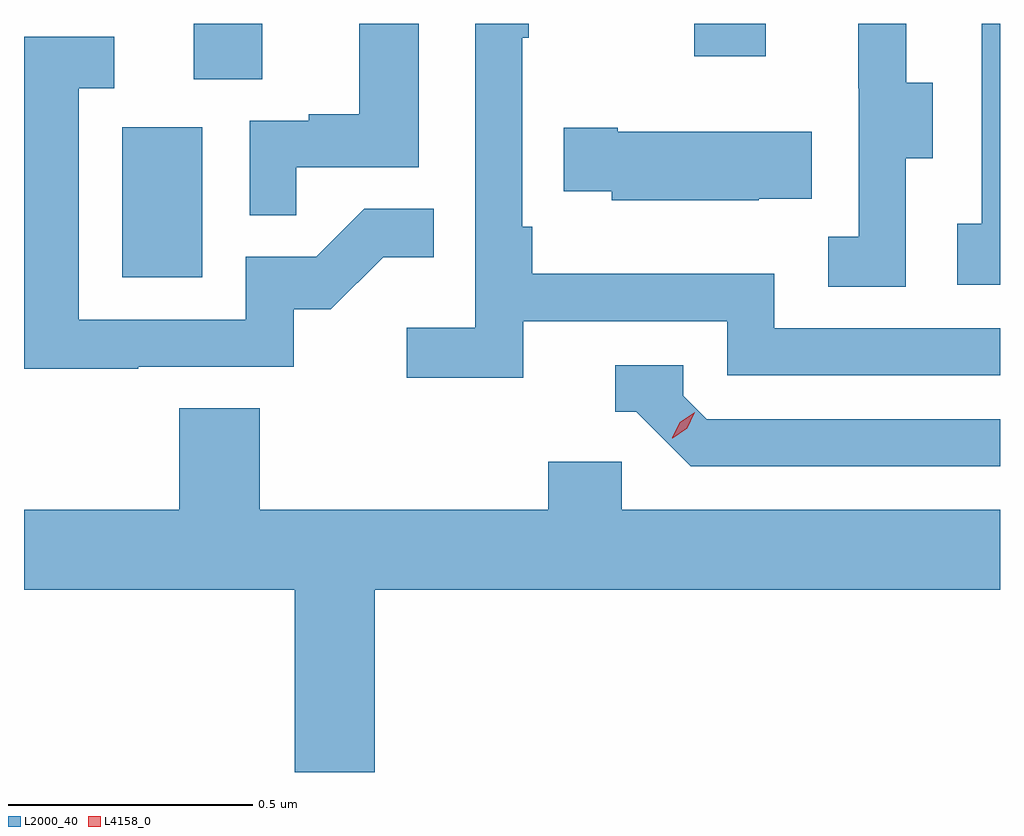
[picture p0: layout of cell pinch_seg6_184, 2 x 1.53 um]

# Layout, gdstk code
import gdstk
lib = gdstk.Library(unit=1e-6, precision=1e-09)
def R(c, l, rs):  # rectangles x0, y0, x1, y1
    for r in rs: c.add(gdstk.rectangle(r[:2], r[2:], *l))
def P(c, l, *ps):  # polygons
    for p in ps: c.add(gdstk.Polygon(p, *l))
L2000_40 = (2000, 40)
L4158_0 = (4158, 0)

pinch_seg6_184 = lib.new_cell('pinch_seg6_184')
R(pinch_seg6_184, L2000_40, [(1039.778,933.324,1039.942,933.631), (1039.925,933.73,1040.065,933.843), (1040.95,933.777,1041.097,933.843)])
P(pinch_seg6_184, L2000_40, [(1041.384,933.568),(1041.439,933.568),(1041.439,933.723),(1041.385,933.723),(1041.385,933.843),(1041.287,933.843),(1041.287,933.711),(1041.288,933.711),(1041.288,933.407),(1041.225,933.407),(1041.225,933.304),(1041.384,933.304)],
  [(1040.135,933.549),(1040.386,933.549),(1040.386,933.843),(1040.264,933.843),(1040.264,933.658),(1040.161,933.658),(1040.161,933.645),(1040.04,933.645),(1040.04,933.451),(1040.135,933.451)],
  [(1041.577,933.843),(1041.54,933.843),(1041.54,933.434),(1041.489,933.434),(1041.489,933.309),(1041.577,933.309)],
  [(1040.6,933.234),(1041.018,933.234),(1041.018,933.123),(1041.577,933.123),(1041.577,933.219),(1041.114,933.219),(1041.114,933.331),(1040.618,933.331),(1040.618,933.427),(1040.598,933.427),(1040.598,933.815),(1040.611,933.815),(1040.611,933.843),(1040.502,933.843),(1040.502,933.22),(1040.361,933.22),(1040.361,933.118),(1040.6,933.118)],
  [(1039.811,933.141),(1040.13,933.141),(1040.13,933.258),(1040.206,933.258),(1040.313,933.365),(1040.417,933.365),(1040.417,933.464),(1040.274,933.464),(1040.176,933.366),(1040.031,933.366),(1040.031,933.237),(1039.689,933.237),(1039.689,933.711),(1039.762,933.711),(1039.762,933.817),(1039.577,933.817),(1039.577,933.136),(1039.811,933.136)],
  [(1041.083,933.485),(1041.191,933.485),(1041.191,933.622),(1040.794,933.622),(1040.794,933.63),(1040.683,933.63),(1040.683,933.5),(1040.781,933.5),(1040.781,933.482),(1041.083,933.482)],
  [(1041.577,933.033),(1040.976,933.033),(1040.928,933.081),(1040.928,933.144),(1040.789,933.144),(1040.789,933.048),(1040.832,933.048),(1040.943,932.937),(1041.577,932.937)],
  [(1040.296,932.684),(1041.577,932.684),(1041.577,932.848),(1040.802,932.848),(1040.802,932.946),(1040.651,932.946),(1040.651,932.848),(1040.06,932.848),(1040.06,933.056),(1039.895,933.056),(1039.895,932.848),(1039.577,932.848),(1039.577,932.684),(1040.132,932.684),(1040.132,932.31),(1040.296,932.31)])
P(pinch_seg6_184, L4158_0, [(1040.905,932.994),(1040.905,932.995),(1040.921,933.027),(1040.951,933.047),(1040.951,933.047),(1040.951,933.047),(1040.936,933.014),(1040.906,932.994)])

lib.write_gds('pinch_seg6_184.gds')
